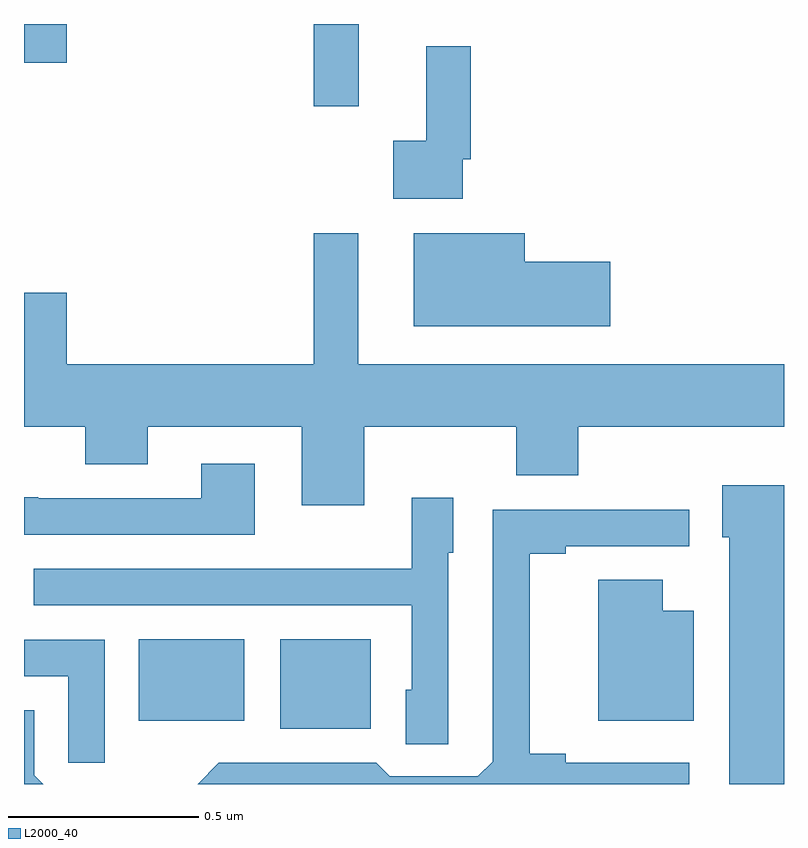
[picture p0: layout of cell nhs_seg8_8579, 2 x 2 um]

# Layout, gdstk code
import gdstk
lib = gdstk.Library(unit=1e-6, precision=1e-09)
def R(c, l, rs):  # rectangles x0, y0, x1, y1
    for r in rs: c.add(gdstk.rectangle(r[:2], r[2:], *l))
def P(c, l, *ps):  # polygons
    for p in ps: c.add(gdstk.Polygon(p, *l))
L2000_40 = (2000, 40)

nhs_seg8_8579 = lib.new_cell('nhs_seg8_8579')
R(nhs_seg8_8579, L2000_40, [(225.674,1109.045,225.913,1109.281), (225.302,1109.066,225.58,1109.281), (225.763,1110.684,225.881,1110.9), (225,1110.798,225.112,1110.9)])
P(nhs_seg8_8579, L2000_40, [(226.155,1110.544),(226.175,1110.544),(226.175,1110.841),(226.058,1110.841),(226.058,1110.593),(225.972,1110.593),(225.972,1110.44),(226.155,1110.44)],
  [(225.895,1109.84),(226.295,1109.84),(226.295,1109.712),(226.459,1109.712),(226.459,1109.84),(227,1109.84),(227,1110.004),(225.88,1110.004),(225.88,1110.349),(225.763,1110.349),(225.763,1110.004),(225.112,1110.004),(225.112,1110.193),(225,1110.193),(225,1109.84),(225.161,1109.84),(225.161,1109.741),(225.325,1109.741),(225.325,1109.84),(225.731,1109.84),(225.731,1109.634),(225.895,1109.634)],
  [(226.543,1110.275),(226.318,1110.275),(226.318,1110.349),(226.025,1110.349),(226.025,1110.104),(226.543,1110.104)],
  [(225.607,1109.743),(225.467,1109.743),(225.467,1109.652),(225.037,1109.652),(225.037,1109.654),(225,1109.654),(225,1109.556),(225.607,1109.556)],
  [(227,1109.686),(226.838,1109.686),(226.838,1109.55),(226.856,1109.55),(226.856,1108.9),(227,1108.9)],
  [(226.116,1109.508),(226.129,1109.508),(226.129,1109.653),(226.02,1109.653),(226.02,1109.467),(225.703,1109.467),(225.703,1109.466),(225.025,1109.466),(225.025,1109.37),(226.02,1109.37),(226.02,1109.148),(226.004,1109.148),(226.004,1109.005),(226.116,1109.005)],
  [(226.75,1108.956),(226.426,1108.956),(226.426,1108.979),(226.331,1108.979),(226.331,1109.506),(226.426,1109.506),(226.426,1109.526),(226.75,1109.526),(226.75,1109.622),(226.233,1109.622),(226.233,1108.959),(226.194,1108.92),(225.963,1108.92),(225.927,1108.956),(225.513,1108.956),(225.457,1108.9),(226.75,1108.9)],
  [(226.762,1109.356),(226.681,1109.356),(226.681,1109.437),(226.511,1109.437),(226.511,1109.066),(226.762,1109.066)],
  [(225.213,1109.28),(225,1109.28),(225,1109.184),(225.117,1109.184),(225.117,1108.956),(225.213,1108.956)],
  [(225.027,1108.923),(225.027,1109.094),(225,1109.094),(225,1108.9),(225.05,1108.9)])

lib.write_gds('nhs_seg8_8579.gds')
